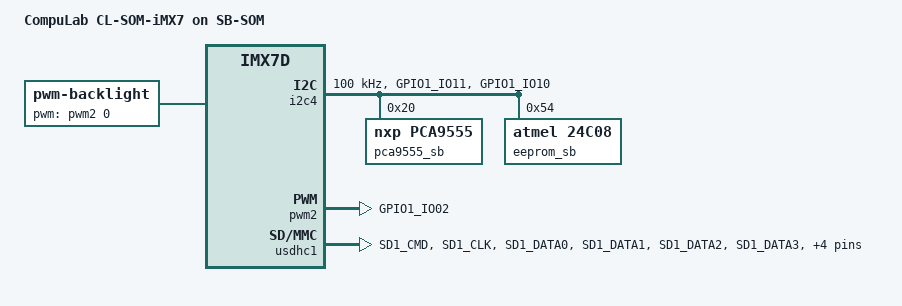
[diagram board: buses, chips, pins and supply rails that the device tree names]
/*
 * Support for CompuLab SBC-iMX7 Single Board Computer
 *
 * Copyright (C) 2015 CompuLab Ltd. - http://www.compulab.co.il/
 * Author: Ilya Ledvich <ilya@compulab.co.il>
 *
 * This file is dual-licensed: you can use it either under the terms
 * of the GPL or the X11 license, at your option. Note that this dual
 * licensing only applies to this file, and not this project as a
 * whole.
 */

#include "imx7d-cl-som-imx7.dts"

/ {
	model = "CompuLab CL-SOM-iMX7 on SB-SOM";
	compatible = "compulab,sbc-imx7", "compulab,cl-som-imx7", "fsl,imx7d";

	backlight {
		compatible = "pwm-backlight";
		pwms = <&pwm2 0 5000000>;
		brightness-levels = <0 4 8 16 32 64 128 255>;
		default-brightness-level = <6>;
		status = "okay";
	};
};

&i2c4 {
	clock-frequency = <100000>;
	pinctrl-names = "default";
	pinctrl-0 = <&pinctrl_i2c4>;
	status = "okay";

	pca9555_sb: pca9555_sb@20 {
		compatible = "nxp,pca9555";
		gpio-controller;
		#gpio-cells = <2>;
		reg = <0x20>;
	};

	eeprom_sb@54 {
		compatible = "atmel,24c08";
		reg = <0x54>;
		pagesize = <16>;
	};
};

&pwm2 {
	pinctrl-names = "default";
	pinctrl-0 = <&pinctrl_pwm2>;
	status = "okay";
};

&usdhc1 {
	pinctrl-names = "default";
	pinctrl-0 = <&pinctrl_usdhc1>;
	cd-gpios = <&gpio5 0 GPIO_ACTIVE_LOW>;
	wp-gpios = <&gpio5 1 GPIO_ACTIVE_HIGH>;
	wakeup-source;
	status = "okay";
};

&iomuxc {
	pinctrl_i2c4: i2c4grp {
		fsl,pins = <
			MX7D_PAD_GPIO1_IO11__I2C4_SDA		0x4000000f
			MX7D_PAD_GPIO1_IO10__I2C4_SCL		0x4000000f
		>;
	};

	pinctrl_usdhc1: usdhc1grp {
		fsl,pins = <
			MX7D_PAD_SD1_CMD__SD1_CMD		0x59
			MX7D_PAD_SD1_CLK__SD1_CLK		0x19
			MX7D_PAD_SD1_DATA0__SD1_DATA0		0x59
			MX7D_PAD_SD1_DATA1__SD1_DATA1		0x59
			MX7D_PAD_SD1_DATA2__SD1_DATA2		0x59
			MX7D_PAD_SD1_DATA3__SD1_DATA3		0x59
			MX7D_PAD_SD1_CD_B__GPIO5_IO0		0x59 /* CD */
			MX7D_PAD_SD1_WP__GPIO5_IO1		0x59 /* WP */
		>;
	};
};

&iomuxc_lpsr {
	pinctrl_pwm2: pwm2grp {
		fsl,pins = <
			MX7D_PAD_GPIO1_IO02__PWM2_OUT		0x110b0
		>;
	};
};
